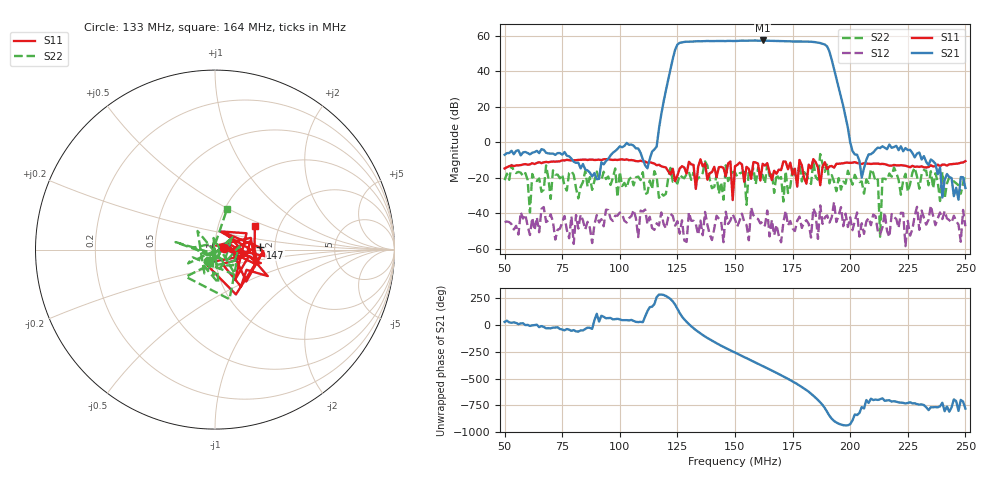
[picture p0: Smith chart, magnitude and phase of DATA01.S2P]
! Network Analyzer HP8753D.06.12 Serial No. 3410A09394
! 13 Jun 2019  08:42:42
# HZ  S  DB R 50
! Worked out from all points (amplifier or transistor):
!   201 points, 50 MHz to 250 MHz, reference 50 ohm
!   highest |S21| = 57.3 dB at 162 MHz (marker M1)
!   |S21| within 3 dB of that: 124.8 MHz to 189.7 MHz (64.9 MHz wide, 41.3 % of centre)
!   unconditionally stable (mu >= 1): start of sweep to 121.7 MHz; 193.3 MHz to end of sweep
!   at 83 MHz: K = 270.39, MAG = -14.3 dB, |S12| = -40.9 dB
!   at 150 MHz: K = 2.49, MSG = 50.2 dB, |S12| = -43.4 dB
!   at 250 MHz: K = 2030.47, MAG = -25.3 dB, |S12| = -47.3 dB
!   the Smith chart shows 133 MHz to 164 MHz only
!   S11 on the Smith chart (normalised r, x): 133 MHz: 1.10, +0.02; 147 MHz: 1.67, +0.04; 164 MHz: 1.50, +0.42
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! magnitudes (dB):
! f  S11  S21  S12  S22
! 50 MHz  -14.8  -7.1  -45.0  -21.4
! 61 MHz  -12.5  -6.8  -52.3  -39.6
! 68 MHz  -11.1  -5.9  -45.0  -13.1
! 84 MHz  -9.9  -12.3  -44.0  -22.5
! 112 MHz  -11.6  -14.7  -46.2  -28.6
! 117 MHz  -12.7  7.7  -46.9  -31.3
! 124 MHz  -22.0  52.0  -47.0  -21.7
! 133 MHz  -26.3  56.8  -46.0  -22.7
! 147 MHz  -12.0  57.0  -46.0  -21.9
! 149 MHz  -32.6  57.0  -40.5  -16.8
! 150 MHz  -13.6  57.0  -43.4  -16.9
! 162 MHz  -12.2  57.3  -44.7  -18.5
! 164 MHz  -11.8  57.1  -38.5  -12.6
! 171 MHz  -10.9  57.0  -45.1  -33.4
! 184 MHz  -9.5  56.4  -37.2  -10.8
! 191 MHz  -13.6  51.0  -45.3  -23.2
! 205 MHz  -12.3  -19.9  -45.7  -22.1
! 212 MHz  -12.0  -3.0  -50.3  -20.9
! 213 MHz  -12.3  -3.3  -51.9  -53.2
! 214 MHz  -12.2  -2.3  -47.9  -20.5
! 217 MHz  -13.2  -1.3  -53.4  -17.6
! 250 MHz  -10.7  -25.8  -47.3  -17.7
